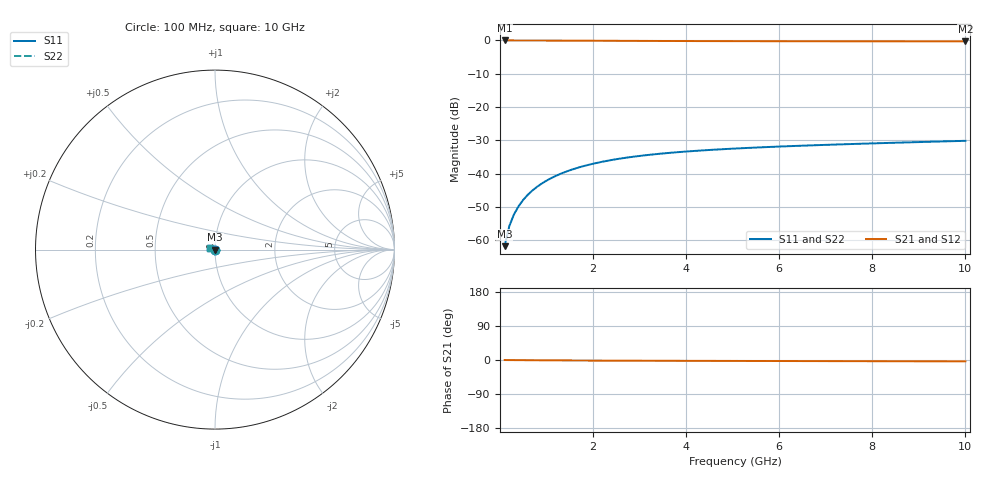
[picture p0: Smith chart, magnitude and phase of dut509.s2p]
! Touchstone file exported from HFSS 2024.1.0
!  File:  C:/UserFiles/LocalFiles/RDL_TSV_Batchsim/temp_TSV1_509_1779702417.aedt
!  Generated:  05:52:38 PM May 25, 2026
!  Design:  TSV1
!  Project:  temp_TSV1_509_1779702417
!  Setup:  Setup1
!  Solution:  Sweep
! Variables:
!  dtsv = 10.77um
!  hbump = 3um
!  htsv = 52.25um
!  lrdl = 252.1521522um
!  p = 40
!  p1 = 57.62um
!  t = 500um
!  trdl = 3um
!  wrdl = 24.89489489um
# GHz S MA R 50.000000
! Terminal data exported
! Port[1] = TSV22_T1
! Port[2] = TSV22_T2
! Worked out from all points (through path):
!   100 points, 100 MHz to 10 GHz, reference 50 ohm
!   highest |S21| = 0.00 dB at 100 MHz (marker M1); lowest = -0.3 dB at 10 GHz (marker M2)
!   lowest |S11| = -61.7 dB at 100 MHz (marker M3), VSWR 1.00, Z = 50 - j0.0819 ohm
!   |S11| at or under -10 dB: start of sweep to end of sweep
!   |S22| runs from -61.7 to -30.1 dB; largest |S21 - S12| = 2.4e-15
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0.1  0.0008219 -85.4  0.9999 -0.1  0.9999 -0.1  0.0008219 -85.4
! Gamma 0 0 0 0
! Port Impedance 50 0 50 0
0.2  0.001637 -90.7  0.9998 -0.2  0.9998 -0.2  0.001637 -90.7
0.3  0.002453 -93.9  0.9996 -0.3  0.9996 -0.3  0.002453 -93.9
0.4  0.003265 -96.6  0.9994 -0.4  0.9994 -0.4  0.003265 -96.6
0.5  0.004069 -99.0  0.9991 -0.4  0.9991 -0.4  0.004069 -99.0
0.6  0.004863 -101.4  0.9988 -0.5  0.9988 -0.5  0.004863 -101.4
0.7  0.005644 -103.6  0.9984 -0.6  0.9984 -0.6  0.005644 -103.6
0.8  0.006411 -105.8  0.9979 -0.7  0.9979 -0.7  0.006411 -105.8
0.9  0.007162 -108.0  0.9975 -0.8  0.9975 -0.8  0.007162 -108.0
1.1  0.008612 -112.1  0.9964 -0.9  0.9964 -0.9  0.008612 -112.1
1.4  0.01064 -118.0  0.9947 -1.1  0.9947 -1.1  0.01064 -118.0
1.6  0.0119 -121.7  0.9934 -1.3  0.9934 -1.3  0.0119 -121.7
1.8  0.01307 -125.3  0.9921 -1.4  0.9921 -1.4  0.01307 -125.3
2.1  0.01468 -130.4  0.9901 -1.5  0.9901 -1.5  0.01468 -130.4
2.5  0.01656 -136.6  0.9876 -1.7  0.9876 -1.7  0.01656 -136.6
2.9  0.01817 -142.2  0.9852 -1.9  0.9852 -1.9  0.01817 -142.2
3.4  0.01988 -148.6  0.9826 -2.0  0.9826 -2.0  0.01988 -148.6
4.2  0.02208 -157.4  0.9791 -2.3  0.9791 -2.3  0.02208 -157.4
5.1  0.02402 -165.8  0.976 -2.5  0.976 -2.5  0.02402 -165.8
6.7  0.02672 -178.0  0.9723 -2.9  0.9723 -2.9  0.02672 -178.0
8.4  0.02913 171.7  0.9697 -3.3  0.9697 -3.3  0.02913 171.7
10  0.03124 163.7  0.9681 -3.7  0.9681 -3.7  0.03124 163.7
